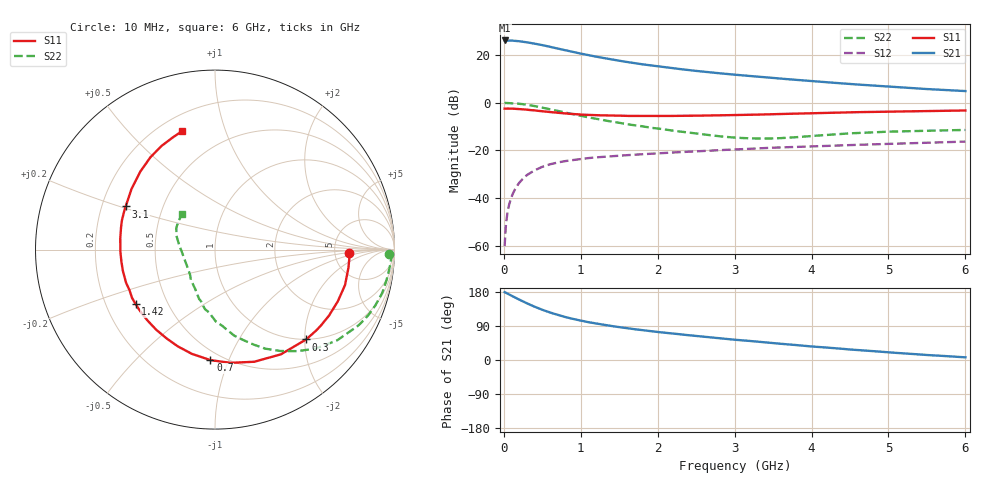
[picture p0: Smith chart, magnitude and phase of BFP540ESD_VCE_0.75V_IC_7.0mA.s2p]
! Infineon Technologies  Discrete & RF Semiconductors
! BFP540ESD
! VCE = 0.75 V,  IC =  7.0 mA
! Common Emitter S-Parameters:  Nov 2015
# GHz  S  MA  R  50
!  f  S11  S21  S12  S22
! GHz  MAG  ANG  MAG  ANG  MAG  ANG  MAG  ANG
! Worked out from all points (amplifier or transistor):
!   210 points, 10 MHz to 6 GHz, reference 50 ohm
!   highest |S21| = 26.0 dB at 10 MHz (marker M1)
!   |S21| within 3 dB of that: start of sweep to 647.3 MHz
!   unconditionally stable (mu >= 1): 2.998 GHz to end of sweep
!   at 185 MHz: K = 0.08, MSG = 29.9 dB, |S12| = -34.2 dB
!   at 1.52 GHz: K = 0.63, MSG = 19.8 dB, |S12| = -22.2 dB
!   at 6 GHz: K = 1.19, MAG = 7.9 dB, |S12| = -16.3 dB
!   S11 on the Smith chart (normalised r, x): 10 MHz: 6.90, -0.57; 300 MHz: 1.00, -2.03; 700 MHz: 0.43, -0.86; 1.42 GHz: 0.33, -0.28; 3.1 GHz: 0.30, +0.21; 6 GHz: 0.29, +0.72
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0.01  0.7484 -1.4  19.9 178.9  0.001 95.3  0.9716 -1.6
0.05  0.7503 -7.6  19.83 174.9  0.0054 88.0  0.9803 -4.8
0.1  0.7509 -15.2  19.78 169.7  0.0107 81.7  0.972 -9.6
0.15  0.7425 -22.8  19.55 164.5  0.0159 80.7  0.9626 -14.5
0.2  0.7339 -30.1  19.16 159.3  0.0211 76.5  0.946 -19.2
0.3  0.713 -44.6  18.25 149.6  0.0306 69.6  0.9024 -28.1
0.4  0.6894 -57.8  17.09 140.6  0.0383 64.2  0.8484 -36.5
0.5  0.6621 -70.7  15.94 132.4  0.0455 59.5  0.7884 -44.3
0.6  0.6368 -82.2  14.63 125.1  0.0514 54.9  0.728 -51.0
0.7  0.6162 -92.4  13.52 119.1  0.0562 51.6  0.673 -57.1
0.8  0.595 -102.5  12.42 113.3  0.06 47.9  0.6198 -63.0
0.9  0.5776 -111.0  11.43 108.3  0.0634 45.7  0.5719 -67.8
1.02  0.5607 -120.1  10.41 103.2  0.067 43.1  0.5215 -73.4
1.2  0.5458 -133.0  9.104 96.2  0.0716 40.0  0.4583 -80.8
1.42  0.5365 -145.6  7.887 89.1  0.0761 37.3  0.3967 -89.7
1.7  0.5288 -159.6  6.682 81.2  0.0815 34.7  0.3366 -99.5
2.02  0.5257 -172.6  5.673 73.5  0.0872 32.6  0.2851 -108.5
2.58  0.5357 168.6  4.454 61.7  0.0972 29.4  0.2184 -127.3
3.1  0.5525 154.2  3.713 51.9  0.1066 26.8  0.1821 -147.6
4.1  0.6058 131.9  2.739 34.3  0.1229 20.5  0.2058 170.0
5.1  0.6527 115.9  2.114 18.8  0.1383 14.4  0.2491 148.8
6  0.6847 105.6  1.742 7.0  0.1533 9.6  0.2685 133.0
